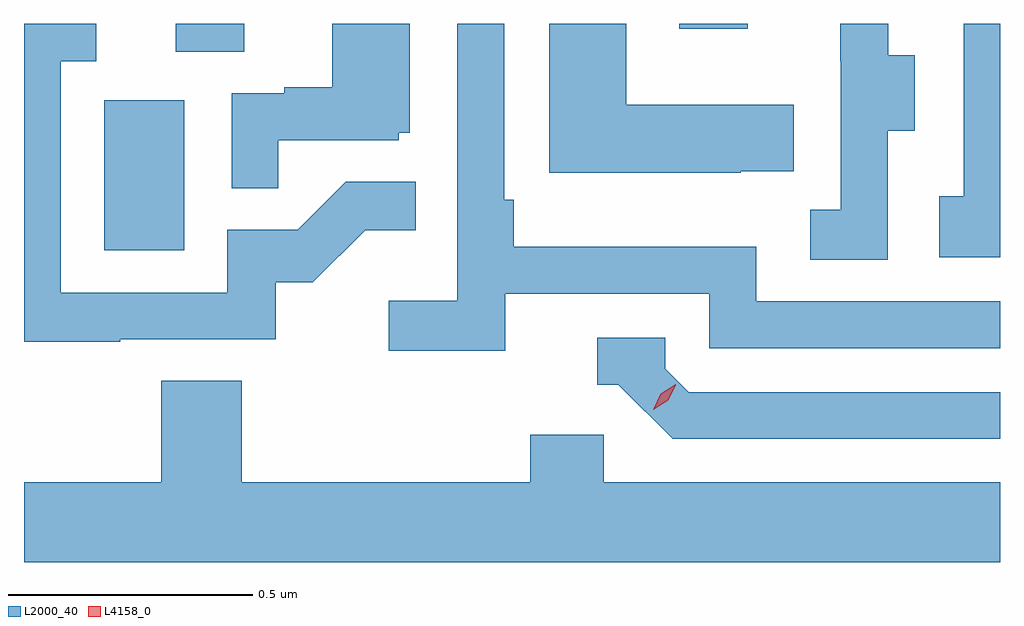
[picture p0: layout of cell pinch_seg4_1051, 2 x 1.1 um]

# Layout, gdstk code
import gdstk
lib = gdstk.Library(unit=1e-6, precision=1e-09)
def R(c, l, rs):  # rectangles x0, y0, x1, y1
    for r in rs: c.add(gdstk.rectangle(r[:2], r[2:], *l))
def P(c, l, *ps):  # polygons
    for p in ps: c.add(gdstk.Polygon(p, *l))
L2000_40 = (2000, 40)
L4158_0 = (4158, 0)

pinch_seg4_1051 = lib.new_cell('pinch_seg4_1051')
R(pinch_seg4_1051, L2000_40, [(804.902,768.156,805.066,768.463), (805.049,768.562,805.189,768.62), (806.081,768.609,806.221,768.62)])
P(pinch_seg4_1051, L2000_40, [(806.508,768.4),(806.563,768.4),(806.563,768.555),(806.509,768.555),(806.509,768.62),(806.411,768.62),(806.411,768.543),(806.412,768.543),(806.412,768.239),(806.349,768.239),(806.349,768.136),(806.508,768.136)],
  [(805.259,768.381),(805.506,768.381),(805.506,768.396),(805.528,768.396),(805.528,768.62),(805.37,768.62),(805.37,768.49),(805.271,768.49),(805.271,768.477),(805.164,768.477),(805.164,768.283),(805.259,768.283)],
  [(806.207,768.317),(806.315,768.317),(806.315,768.454),(805.972,768.454),(805.972,768.62),(805.814,768.62),(805.814,768.314),(806.207,768.314)],
  [(805.724,768.066),(806.142,768.066),(806.142,767.955),(806.738,767.955),(806.738,768.051),(806.238,768.051),(806.238,768.163),(805.742,768.163),(805.742,768.259),(805.722,768.259),(805.722,768.62),(805.626,768.62),(805.626,768.052),(805.485,768.052),(805.485,767.95),(805.724,767.95)],
  [(806.738,768.62),(806.664,768.62),(806.664,768.266),(806.613,768.266),(806.613,768.141),(806.738,768.141)],
  [(804.935,767.973),(805.254,767.973),(805.254,768.09),(805.33,768.09),(805.437,768.197),(805.541,768.197),(805.541,768.296),(805.397,768.296),(805.299,768.198),(805.155,768.198),(805.155,768.069),(804.813,768.069),(804.813,768.543),(804.886,768.543),(804.886,768.62),(804.738,768.62),(804.738,767.968),(804.935,767.968)],
  [(806.738,767.865),(806.1,767.865),(806.052,767.913),(806.052,767.976),(805.913,767.976),(805.913,767.88),(805.956,767.88),(806.067,767.769),(806.738,767.769)],
  [(806.738,767.68),(805.926,767.68),(805.926,767.778),(805.775,767.778),(805.775,767.68),(805.184,767.68),(805.184,767.888),(805.019,767.888),(805.019,767.68),(804.738,767.68),(804.738,767.516),(806.738,767.516)])
P(pinch_seg4_1051, L4158_0, [(806.027,767.829),(806.027,767.829),(806.043,767.862),(806.074,767.881),(806.074,767.881),(806.074,767.88),(806.058,767.848),(806.027,767.829)])

lib.write_gds('pinch_seg4_1051.gds')
